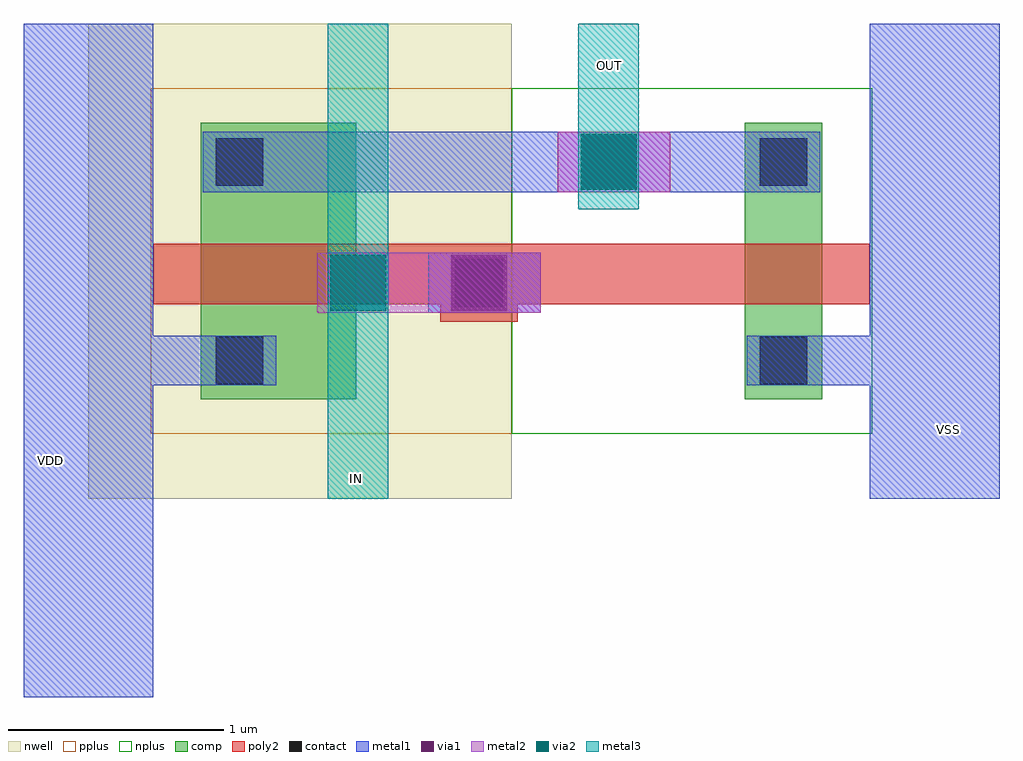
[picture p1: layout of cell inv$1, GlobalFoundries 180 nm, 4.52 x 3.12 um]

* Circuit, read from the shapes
.subckt inv$1 IN OUT VDD VSS
XM1 OUT IN VSS VSUBS nfet_03v3 w=0.36u l=0.28u
XM2 OUT IN VDD n1 pfet_03v3 w=0.72u l=0.28u
.ends

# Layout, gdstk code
import gdstk
lib = gdstk.Library(unit=1e-6, precision=5e-09)
def R(c, l, rs):  # rectangles x0, y0, x1, y1
    for r in rs: c.add(gdstk.rectangle(r[:2], r[2:], *l))
nwell = (21, 0)
comp = (22, 0)
poly2 = (30, 0)
pplus = (31, 0)
nplus = (32, 0)
contact = (33, 0)
metal1 = (34, 0)
via1 = (35, 0)
metal2 = (36, 0)
via2 = (38, 0)
metal3 = (42, 0)

inv_1 = lib.new_cell('inv$1')
R(inv_1, nwell, [(-5.515,5.515,-3.555,7.715)])
R(inv_1, comp, [(-4.995,5.975,-4.275,7.255), (-2.475,5.975,-2.115,7.255)])
R(inv_1, poly2, [(-3.885,6.335,-3.525,6.695), (-5.215,6.415,-1.895,6.695)])
R(inv_1, pplus, [(-5.225,5.815,-3.555,7.415)])
R(inv_1, nplus, [(-3.555,5.815,-1.885,7.415)])
R(inv_1, contact, [(-4.925,6.045,-4.705,6.265), (-2.405,6.045,-2.185,6.265), (-3.815,6.405,-3.595,6.625), (-4.925,6.965,-4.705,7.185), (-2.405,6.965,-2.185,7.185)])
R(inv_1, metal1, [(-5.815,4.595,-5.215,7.715), (-1.895,5.515,-1.295,7.715), (-5.215,6.04,-4.645,6.27), (-2.465,6.04,-1.895,6.27), (-3.94,6.375,-3.42,6.655), (-4.985,6.935,-2.125,7.215)])
R(inv_1, via1, [(-3.835,6.385,-3.575,6.645), (-3.235,6.945,-2.975,7.205)])
R(inv_1, metal2, [(-4.455,6.375,-3.42,6.655), (-3.34,6.935,-2.82,7.215)])
R(inv_1, via2, [(-4.395,6.385,-4.135,6.645), (-3.235,6.945,-2.975,7.205)])
R(inv_1, metal3, [(-4.405,5.515,-4.125,7.715), (-3.245,6.855,-2.965,7.715)])
inv_1.add(gdstk.Label('VDD', (-5.69,5.69), layer=34, texttype=10))
inv_1.add(gdstk.Label('VSS', (-1.53,5.835), layer=34, texttype=10))
inv_1.add(gdstk.Label('IN', (-4.275,5.61), layer=42, texttype=10))
inv_1.add(gdstk.Label('OUT', (-3.1,7.52), layer=42, texttype=10))

lib.write_gds('inv_1.gds')
